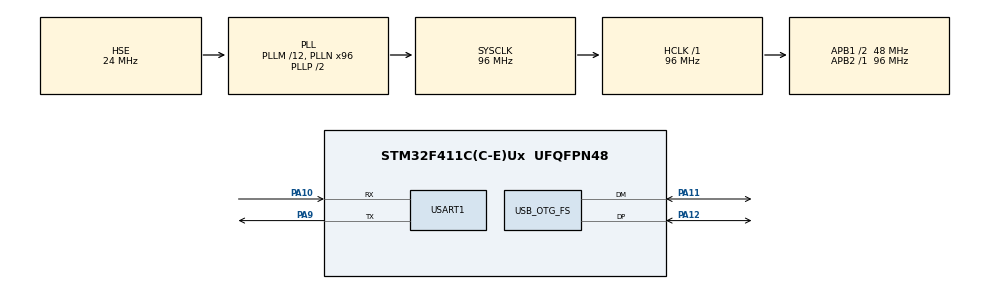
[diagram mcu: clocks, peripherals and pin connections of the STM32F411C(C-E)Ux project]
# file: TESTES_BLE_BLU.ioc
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Mcu.Family=STM32F4
Mcu.Name=STM32F411C(C-E)Ux
Mcu.Package=UFQFPN48
NVIC.OTG_FS_IRQn=true\:0\:0\:false\:false\:true\:false\:true\:true
NVIC.PriorityGroup=NVIC_PRIORITYGROUP_4
NVIC.USART1_IRQn=true\:0\:0\:false\:false\:true\:true\:true\:true
PA10.Mode=Asynchronous
PA10.Signal=USART1_RX
PA11.Mode=Device_Only
PA11.Signal=USB_OTG_FS_DM
PA12.Mode=Device_Only
PA12.Signal=USB_OTG_FS_DP
PA13.Mode=Serial_Wire
PA13.Signal=SYS_JTMS-SWDIO
PA14.Mode=Serial_Wire
PA14.Signal=SYS_JTCK-SWCLK
PA9.Mode=Asynchronous
PA9.Signal=USART1_TX
PH0\ -\ OSC_IN.Mode=HSE-External-Oscillator
PH0\ -\ OSC_IN.Signal=RCC_OSC_IN
PH1\ -\ OSC_OUT.Mode=HSE-External-Oscillator
PH1\ -\ OSC_OUT.Signal=RCC_OSC_OUT
ProjectManager.HeapSize=0x200
ProjectManager.StackSize=0x400
ProjectManager.TargetToolchain=STM32CubeIDE
RCC.48MHZClocksFreq_Value=48000000
RCC.AHBFreq_Value=96000000
RCC.APB1CLKDivider=RCC_HCLK_DIV2
RCC.APB1Freq_Value=48000000
RCC.APB1TimFreq_Value=96000000
RCC.APB2Freq_Value=96000000
RCC.APB2TimFreq_Value=96000000
RCC.CortexFreq_Value=96000000
RCC.HCLKFreq_Value=96000000
RCC.HSE_VALUE=24000000
RCC.HSI_VALUE=16000000
RCC.LSE_VALUE=32768
RCC.PLLM=12
RCC.PLLN=96
RCC.SYSCLKFreq_VALUE=96000000
RCC.SYSCLKSource=RCC_SYSCLKSOURCE_PLLCLK
RCC.VCOOutputFreq_Value=192000000
USART1.VirtualMode=VM_ASYNC
USB_DEVICE.CLASS_NAME_FS=CDC
USB_DEVICE.VirtualMode=Cdc
USB_DEVICE.VirtualModeFS=Cdc_FS
USB_OTG_FS.VirtualMode=Device_Only
VP_USB_DEVICE_VS_USB_DEVICE_CDC_FS.Mode=CDC_FS
board=custom

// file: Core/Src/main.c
/* USER CODE BEGIN Header */
/**
 ******************************************************************************
 * @file           : main.c
 * @brief          : Main program body
 ******************************************************************************
 * @attention
 *
 * Copyright (c) 2024 STMicroelectronics.
 * All rights reserved.
 *
 * This software is licensed under terms that can be found in the LICENSE file
 * in the root directory of this software component.
 * If no LICENSE file comes with this software, it is provided AS-IS.
 *
 ******************************************************************************
 */
/* USER CODE END Header */
#include "main.h"
#include "usb_device.h"
#include <string.h> // Para strlen, strncat
#include <stddef.h> // Para size_t

/* USER CODE BEGIN Includes */
#include "usbd_cdc_if.h"
/* USER CODE END Includes */

/* USER CODE BEGIN PD */
#define RX_BUFFER_SIZE 1  // Tamanho do buffer de recepção (um byte por vez)
#define TX_BUFFER_SIZE 50 // Tamanho máximo do buffer para a transmissão
#define RESPONSE_BUFFER_SIZE 10000
/* USER CODE END PD */

UART_HandleTypeDef huart1;

/* USER CODE BEGIN PV */
uint8_t rxBuffer[RX_BUFFER_SIZE];
char assembledBuffer[TX_BUFFER_SIZE] = ""; // Buffer para montar a mensagem recebida
/* USER CODE END PV */

void SystemClock_Config(void);
static void MX_GPIO_Init(void);
static void MX_USART1_UART_Init(void);
/* USER CODE BEGIN PFP */
void HAL_UART_RxCpltCallback(UART_HandleTypeDef *huart);
void USART1_Transmit(uint8_t* data, uint16_t size);
/* USER CODE END PFP */

int main(void)
{

  /* MCU Configuration--------------------------------------------------------*/
  HAL_Init();
  SystemClock_Config();
  MX_GPIO_Init();
  MX_USB_DEVICE_Init();
  MX_USART1_UART_Init();

  /* USER CODE BEGIN 2 */
  HAL_UART_Receive_IT(&huart1, rxBuffer, RX_BUFFER_SIZE);
  /* USER CODE END 2 */

  /* Infinite loop */
  while (1)
  {
  }
}

void SystemClock_Config(void)
{
  RCC_OscInitTypeDef RCC_OscInitStruct = {0};
  RCC_ClkInitTypeDef RCC_ClkInitStruct = {0};

  __HAL_RCC_PWR_CLK_ENABLE();
  __HAL_PWR_VOLTAGESCALING_CONFIG(PWR_REGULATOR_VOLTAGE_SCALE1);

  RCC_OscInitStruct.OscillatorType = RCC_OSCILLATORTYPE_HSE;
  RCC_OscInitStruct.HSEState = RCC_HSE_ON;
  RCC_OscInitStruct.PLL.PLLState = RCC_PLL_ON;
  RCC_OscInitStruct.PLL.PLLSource = RCC_PLLSOURCE_HSE;
  RCC_OscInitStruct.PLL.PLLM = 12;
  RCC_OscInitStruct.PLL.PLLN = 96;
  RCC_OscInitStruct.PLL.PLLP = RCC_PLLP_DIV2;
  RCC_OscInitStruct.PLL.PLLQ = 4;
  if (HAL_RCC_OscConfig(&RCC_OscInitStruct) != HAL_OK)
  {
    Error_Handler();
  }

  RCC_ClkInitStruct.ClockType = RCC_CLOCKTYPE_HCLK|RCC_CLOCKTYPE_SYSCLK
                              |RCC_CLOCKTYPE_PCLK1|RCC_CLOCKTYPE_PCLK2;
  RCC_ClkInitStruct.SYSCLKSource = RCC_SYSCLKSOURCE_PLLCLK;
  RCC_ClkInitStruct.AHBCLKDivider = RCC_SYSCLK_DIV1;
  RCC_ClkInitStruct.APB1CLKDivider = RCC_HCLK_DIV2;
  RCC_ClkInitStruct.APB2CLKDivider = RCC_HCLK_DIV1;

  if (HAL_RCC_ClockConfig(&RCC_ClkInitStruct, FLASH_LATENCY_3) != HAL_OK)
  {
    Error_Handler();
  }
}

static void MX_USART1_UART_Init(void)
{
  huart1.Instance = USART1;
  huart1.Init.BaudRate = 115200;
  huart1.Init.WordLength = UART_WORDLENGTH_8B;
  huart1.Init.StopBits = UART_STOPBITS_1;
  huart1.Init.Parity = UART_PARITY_NONE;
  huart1.Init.Mode = UART_MODE_TX_RX;
  huart1.Init.HwFlowCtl = UART_HWCONTROL_NONE;
  huart1.Init.OverSampling = UART_OVERSAMPLING_16;
  if (HAL_UART_Init(&huart1) != HAL_OK)
  {
    Error_Handler();
  }
}

static void MX_GPIO_Init(void)
{
  __HAL_RCC_GPIOH_CLK_ENABLE();
  __HAL_RCC_GPIOA_CLK_ENABLE();
}

/* USER CODE BEGIN 4 */
void HAL_UART_RxCpltCallback(UART_HandleTypeDef *huart) {
    if (huart->Instance == USART1) {
        // Filtra o caractere de controle '\r'
        if (rxBuffer[0] != '\r') {
            // Adiciona o byte recebido ao buffer de montagem
            size_t len = strlen(assembledBuffer);
            if (len < TX_BUFFER_SIZE - 1) {  // Garante espaço para mais um caractere e o terminador nulo
                assembledBuffer[len] = rxBuffer[0];
                assembledBuffer[len + 1] = '\0';
            }
        }

        // Verifica se o comando terminou com '\r'
        if (rxBuffer[0] == '\r') {
            // Concatena "_rx\r\n" ao comando completo
            if (strlen(assembledBuffer) + 5 < TX_BUFFER_SIZE) {  // Garante espaço para "_rx\r\n"
                strncat(assembledBuffer, "_rx\r\n", TX_BUFFER_SIZE - strlen(assembledBuffer) - 1);
            }

            // Transmite o comando modificado
            USART1_Transmit((uint8_t *)assembledBuffer, strlen(assembledBuffer));

            // Limpa o buffer montado para a próxima mensagem
            memset(assembledBuffer, 0, TX_BUFFER_SIZE);
        }

        // Reinicia a recepção para o próximo byte
        HAL_UART_Receive_IT(&huart1, rxBuffer, RX_BUFFER_SIZE);
    }
}

// Função para transmitir dados via USART1
void USART1_Transmit(uint8_t* data, uint16_t size) {
    HAL_UART_Transmit(&huart1, data, size, HAL_MAX_DELAY);
}

/* USER CODE END 4 */

void Error_Handler(void)
{
  __disable_irq();
  while (1) {
  }
}
